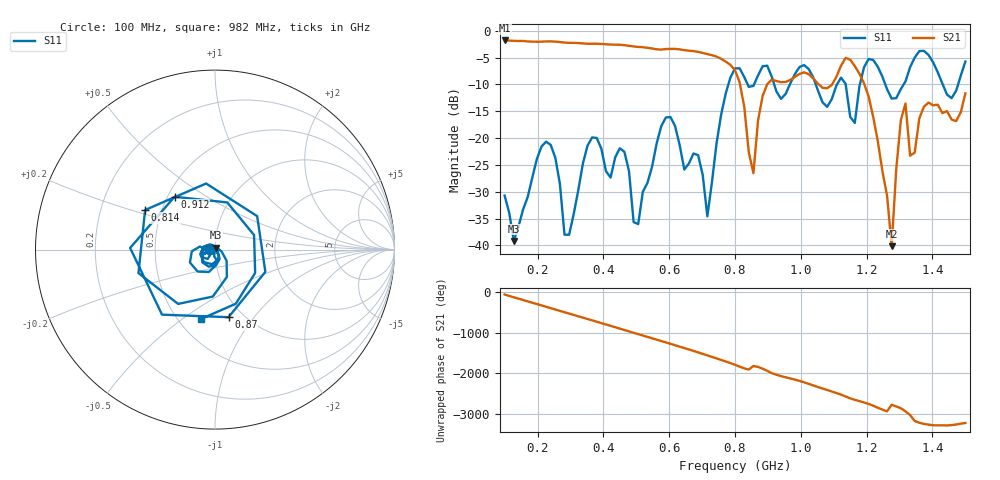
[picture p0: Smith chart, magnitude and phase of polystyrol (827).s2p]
! NanoVNA-App
! Date: 2025-09-25 15:36:19
! Start: 100MHz Stop: 1,5GHz Points: 101
! S-Parameter data: F S11 S21 S12 S22
# Hz S RI R 50
!  Frequency  S11_Real  S11_Imag  S21_Real  S21_Imag  S12_Real  S12_Imag  S22_Real  S22_Imag
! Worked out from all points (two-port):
!   101 points, 100 MHz to 1.5 GHz, reference 50 ohm
!   highest |S21| = -1.80 dB at 100 MHz (marker M1); lowest = -40.1 dB at 1.276 GHz (marker M2)
!   |S21| within 3 dB of the highest: start of sweep to 743.1 MHz
!   lowest |S11| = -39.2 dB at 128 MHz (marker M3), VSWR 1.02, Z = 50.3 + j1.05 ohm
!   |S11| at or under -10 dB: start of sweep to 779.9 MHz; 1.045 GHz to 1.11 GHz (64.47 MHz wide, 5.98 % of centre); 1.257 GHz to 1.312 GHz (55.78 MHz wide, 4.34 % of centre) (the widest 3 of 7)
!   S12 and S22 are empty: the file has one direction only
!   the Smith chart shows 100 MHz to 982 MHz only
!   S11 on the Smith chart (normalised r, x): 100 MHz: 0.94, -0.01; 814 MHz: 0.40, +0.22; 870 MHz: 0.86, -0.76; 912 MHz: 0.54, +0.37; 982 MHz: 0.64, -0.59
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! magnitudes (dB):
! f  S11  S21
! 100 MHz  -30.7  -1.8
! 128 MHz  -39.2  -1.9
! 212 MHz  -21.6  -2.0
! 282 MHz  -38.0  -2.2
! 338 MHz  -24.7  -2.3
! 464 MHz  -22.6  -2.7
! 506 MHz  -36.0  -3.0
! 576 MHz  -17.8  -3.5
! 716 MHz  -34.6  -4.3
! 800 MHz  -7.0  -7.3
! 814 MHz  -7.0  -9.6
! 856 MHz  -10.3  -26.5
! 870 MHz  -8.3  -16.7
! 912 MHz  -8.6  -9.1
! 982 MHz  -8.1  -8.6
! 1.038 GHz  -8.7  -8.9
! 1.164 GHz  -17.2  -6.6
! 1.192 GHz  -6.8  -9.8
! 1.276 GHz  -12.6  -40.1
! 1.318 GHz  -9.4  -13.5
! 1.332 GHz  -6.8  -23.3
! 1.5 GHz  -5.7  -11.7
